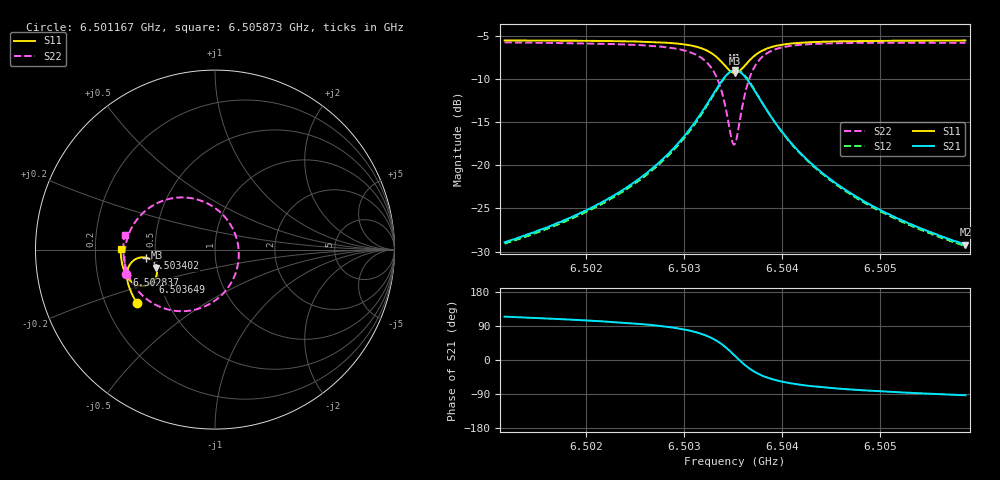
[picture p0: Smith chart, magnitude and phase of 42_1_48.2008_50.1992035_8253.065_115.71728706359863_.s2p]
#  HZ  S  RI  R  50.00
! Rohde & Schwarz Vector Network Analyzer
! Rohde-Schwarz,ZNB20-2Port,1311601062101988,3.16
! Created: UTC 3/20/2024, 11:37:54 AM
! freq[Hz]  re:S11  im:S11  re:S21  im:S21  re:S12  im:S12  re:S22  im:S22
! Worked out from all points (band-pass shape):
!   401 points, 6.501167 GHz to 6.505873 GHz, reference 50 ohm
!   highest |S21| = -9.02 dB at 6.50352 GHz (marker M1); lowest = -29.2 dB at 6.505873 GHz (marker M2)
!   |S21| within 3 dB of the highest: 6.503284 GHz to 6.503755 GHz (471.1 kHz wide, 0.00724 % of centre)
!   lowest |S11| = -9.3 dB at 6.50352 GHz (marker M3), VSWR 2.03, Z = 25 - j5.67 ohm
!   |S11| at or under -10 dB: nowhere
!   |S22| runs from -17.6 to -5.8 dB; largest |S21 - S12| = 0.013
!   S11 on the Smith chart (normalised r, x): 6.501167 GHz: 0.34, -0.27; 6.502837 GHz: 0.33, -0.12; 6.503402 GHz: 0.45, -0.05; 6.503649 GHz: 0.46, -0.20; 6.505873 GHz: 0.31, +0.00
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6.5011665e9  -0.436 -0.2951  -0.0147 0.0326  -0.0129 0.0325  -0.4952 -0.1334
6.5019548e9  -0.4684 -0.2347  -0.0137 0.0515  -0.0113 0.0509  -0.5045 -0.0455
6.5023902e9  -0.4829 -0.1946  -0.0102 0.0721  -0.0072 0.0707  -0.4989 0.0204
6.5027432e9  -0.4903 -0.1534  -0.000305 0.1034  0.00336 0.1008  -0.4762 0.0969
6.5028373e9  -0.4906 -0.1399  0.00564 0.116  0.00939 0.1128  -0.4631 0.1238
6.5030373e9  -0.4846 -0.1053  0.0307 0.1529  0.0344 0.148  -0.4107 0.195
6.5031785e9  -0.4681 -0.0746  0.0727 0.188  0.0754 0.1818  -0.3297 0.255
6.5033079e9  -0.4303 -0.0476  0.1536 0.2142  0.154 0.2077  -0.1826 0.2907
6.503402e9  -0.3817 -0.0456  0.2489 0.1959  0.2488 0.1914  -0.0174 0.2435
6.5034844e9  -0.3371 -0.0769  0.3298 0.1172  0.3324 0.1131  0.1117 0.0878
6.5035197e9  -0.3259 -0.1002  0.3476 0.0662  0.3516 0.0607  0.1326 -0.00852
6.5035432e9  -0.3229 -0.1172  0.3508 0.03  0.3551 0.023  0.1292 -0.0751
6.5035785e9  -0.3253 -0.1424  0.3427 -0.0221  0.3466 -0.0315  0.0995 -0.1679
6.5036491e9  -0.3485 -0.1813  0.2932 -0.1014  0.2933 -0.1133  -0.0171 -0.2956
6.5037433e9  -0.3911 -0.2018  0.2114 -0.1458  0.2063 -0.1564  -0.1841 -0.3432
6.5038139e9  -0.4182 -0.2018  0.162 -0.1507  0.1548 -0.1591  -0.2769 -0.3296
6.5038962e9  -0.442 -0.1947  0.1198 -0.1445  0.1121 -0.1503  -0.3508 -0.2965
6.5040609e9  -0.472 -0.1736  0.07 -0.1224  0.0633 -0.125  -0.4315 -0.2268
6.504308e9  -0.4949 -0.1422  0.0359 -0.0945  0.0309 -0.0949  -0.4807 -0.1465
6.504661e9  -0.5108 -0.1039  0.0159 -0.0692  0.0124 -0.0689  -0.5038 -0.0697
6.5050963e9  -0.5204 -0.0626  0.0055 -0.0515  0.00314 -0.0508  -0.5107 -0.00395
6.5058729e9  -0.5259 0.00424  -0.00188 -0.0347  -0.00325 -0.0338  -0.504 0.0822
